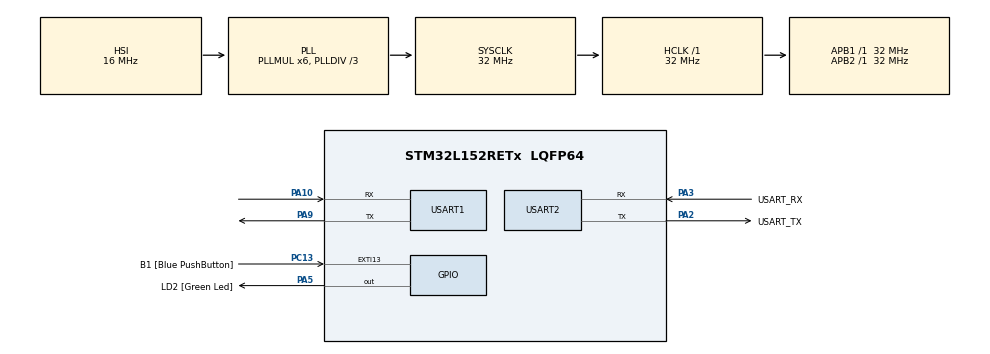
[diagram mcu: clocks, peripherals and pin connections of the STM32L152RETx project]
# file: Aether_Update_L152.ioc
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FREERTOS.Tasks01=defaultTask,0,128,StartDefaultTask,Default,NULL,Dynamic,NULL,NULL;checkUpdateTask,0,128,StartCheckUpdateTask,Default,NULL,Dynamic,NULL,NULL
FREERTOS.configUSE_NEWLIB_REENTRANT=1
Mcu.Family=STM32L1
Mcu.Name=STM32L152RETx
Mcu.Package=LQFP64
NVIC.EXTI15_10_IRQn=true\:5\:0\:false\:false\:true\:true\:true\:true\:true
NVIC.PriorityGroup=NVIC_PRIORITYGROUP_4
NVIC.TIM5_IRQn=true\:15\:0\:false\:false\:true\:false\:false\:true\:true
NVIC.TimeBase=TIM5_IRQn
NVIC.TimeBaseIP=TIM5
NVIC.USART1_IRQn=true\:5\:0\:false\:false\:true\:true\:true\:true\:true
PA10.GPIO_Speed=GPIO_SPEED_FREQ_MEDIUM
PA10.Mode=Asynchronous
PA10.Signal=USART1_RX
PA13.GPIO_Label=TMS
PA13.Mode=Serial_Wire
PA13.Signal=SYS_JTMS-SWDIO
PA14.GPIO_Label=TCK
PA14.Mode=Serial_Wire
PA14.Signal=SYS_JTCK-SWCLK
PA2.GPIO_Label=USART_TX
PA2.GPIO_Speed=GPIO_SPEED_FREQ_MEDIUM
PA2.Mode=Asynchronous
PA2.Signal=USART2_TX
PA3.GPIO_Label=USART_RX
PA3.GPIO_Speed=GPIO_SPEED_FREQ_MEDIUM
PA3.Mode=Asynchronous
PA3.Signal=USART2_RX
PA5.GPIO_Label=LD2 [Green Led]
PA5.Signal=GPIO_Output
PA9.GPIO_Speed=GPIO_SPEED_FREQ_MEDIUM
PA9.Mode=Asynchronous
PA9.Signal=USART1_TX
PB3.GPIO_Label=SWO
PB3.Signal=SYS_JTDO-TRACESWO
PC13-WKUP2.GPIO_Label=B1 [Blue PushButton]
PC13-WKUP2.GPIO_ModeDefaultEXTI=GPIO_MODE_IT_FALLING
PC13-WKUP2.Signal=GPXTI13
PC14-OSC32_IN.Mode=LSE-External-Oscillator
PC14-OSC32_IN.Signal=RCC_OSC32_IN
PC15-OSC32_OUT.Mode=LSE-External-Oscillator
PC15-OSC32_OUT.Signal=RCC_OSC32_OUT
PH0-OSC_IN.Mode=HSE-External-Clock-Source
PH0-OSC_IN.Signal=RCC_OSC_IN
PH1-OSC_OUT.Signal=RCC_OSC_OUT
ProjectManager.HeapSize=0x200
ProjectManager.StackSize=0x400
ProjectManager.TargetToolchain=STM32CubeIDE
RCC.48MHZClocksFreq_Value=48000000
RCC.AHBFreq_Value=32000000
RCC.APB1Freq_Value=32000000
RCC.APB1TimFreq_Value=32000000
RCC.APB2Freq_Value=32000000
RCC.APB2TimFreq_Value=32000000
RCC.HCLKFreq_Value=32000000
RCC.HSE_VALUE=8000000
RCC.HSI_VALUE=16000000
RCC.MSI_VALUE=2097000
RCC.PLLDIV=RCC_PLL_DIV3
RCC.PLLMUL=RCC_PLL_MUL6
RCC.RTCClockSelectionVirtual=RCC_RTCCLKSOURCE_LSE
RCC.SYSCLKFreq_VALUE=32000000
RCC.SYSCLKSource=RCC_SYSCLKSOURCE_PLLCLK
RCC.USBOutput=48000000
RCC.VCOOutputFreq_Value=96000000
USART1.VirtualMode=VM_ASYNC
USART2.VirtualMode=VM_ASYNC
VP_CRC_VS_CRC.Mode=CRC_Activate
VP_FREERTOS_VS_CMSIS_V1.Mode=CMSIS_V1
VP_SYS_VS_tim5.Mode=TIM5
board=NUCLEO-L152RE

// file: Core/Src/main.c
/* USER CODE BEGIN Header */
/**
  ******************************************************************************
  * @file           : main.c
  * @brief          : Main program body
  ******************************************************************************
  * @attention
  *
  * Copyright (c) 2024 STMicroelectronics.
  * All rights reserved.
  *
  * This software is licensed under terms that can be found in the LICENSE file
  * in the root directory of this software component.
  * If no LICENSE file comes with this software, it is provided AS-IS.
  *
  ******************************************************************************
  */
/* USER CODE END Header */
#include "main.h"
#include "cmsis_os.h"

/* USER CODE BEGIN Includes */
#include <stdio.h>
#include <string.h>
#include <stdarg.h>
#include "retarget.h"
/* USER CODE END Includes */

CRC_HandleTypeDef hcrc;

UART_HandleTypeDef huart1;
UART_HandleTypeDef huart2;

osThreadId defaultTaskHandle;
osThreadId checkUpdateTaskHandle;

void SystemClock_Config(void);
static void MX_GPIO_Init(void);
static void MX_USART2_UART_Init(void);
static void MX_CRC_Init(void);
static void MX_USART1_UART_Init(void);
void StartDefaultTask(void const * argument);
void StartCheckUpdateTask(void const * argument);

int main(void)
{

  /* MCU Configuration--------------------------------------------------------*/

  /* Reset of all peripherals, Initializes the Flash interface and the Systick. */
  HAL_Init();

  /* Configure the system clock */
  SystemClock_Config();

  /* Initialize all configured peripherals */
  MX_GPIO_Init();
  MX_USART2_UART_Init();
  MX_CRC_Init();
  MX_USART1_UART_Init();
  /* USER CODE BEGIN 2 */
  RetargetInit(&huart2);
  printf("L152: Starting up.....\n");
  /* USER CODE END 2 */

  /* Create the thread(s) */
  /* definition and creation of defaultTask */
  osThreadDef(defaultTask, StartDefaultTask, osPriorityNormal, 0, 128);
  defaultTaskHandle = osThreadCreate(osThread(defaultTask), NULL);

  /* definition and creation of checkUpdateTask */
  osThreadDef(checkUpdateTask, StartCheckUpdateTask, osPriorityNormal, 0, 128);
  checkUpdateTaskHandle = osThreadCreate(osThread(checkUpdateTask), NULL);

  /* Start scheduler */
  osKernelStart();

  /* We should never get here as control is now taken by the scheduler */

  /* Infinite loop */
  while (1)
  {

  }
}

void SystemClock_Config(void)
{
  RCC_OscInitTypeDef RCC_OscInitStruct = {0};
  RCC_ClkInitTypeDef RCC_ClkInitStruct = {0};

  /** Configure the main internal regulator output voltage
  */
  __HAL_PWR_VOLTAGESCALING_CONFIG(PWR_REGULATOR_VOLTAGE_SCALE1);

  /** Initializes the RCC Oscillators according to the specified parameters
  * in the RCC_OscInitTypeDef structure.
  */
  RCC_OscInitStruct.OscillatorType = RCC_OSCILLATORTYPE_HSI;
  RCC_OscInitStruct.HSIState = RCC_HSI_ON;
  RCC_OscInitStruct.HSICalibrationValue = RCC_HSICALIBRATION_DEFAULT;
  RCC_OscInitStruct.PLL.PLLState = RCC_PLL_ON;
  RCC_OscInitStruct.PLL.PLLSource = RCC_PLLSOURCE_HSI;
  RCC_OscInitStruct.PLL.PLLMUL = RCC_PLL_MUL6;
  RCC_OscInitStruct.PLL.PLLDIV = RCC_PLL_DIV3;
  if (HAL_RCC_OscConfig(&RCC_OscInitStruct) != HAL_OK)
  {
    Error_Handler();
  }

  /** Initializes the CPU, AHB and APB buses clocks
  */
  RCC_ClkInitStruct.ClockType = RCC_CLOCKTYPE_HCLK|RCC_CLOCKTYPE_SYSCLK
                              |RCC_CLOCKTYPE_PCLK1|RCC_CLOCKTYPE_PCLK2;
  RCC_ClkInitStruct.SYSCLKSource = RCC_SYSCLKSOURCE_PLLCLK;
  RCC_ClkInitStruct.AHBCLKDivider = RCC_SYSCLK_DIV1;
  RCC_ClkInitStruct.APB1CLKDivider = RCC_HCLK_DIV1;
  RCC_ClkInitStruct.APB2CLKDivider = RCC_HCLK_DIV1;

  if (HAL_RCC_ClockConfig(&RCC_ClkInitStruct, FLASH_LATENCY_1) != HAL_OK)
  {
    Error_Handler();
  }
}

static void MX_CRC_Init(void)
{

  hcrc.Instance = CRC;
  if (HAL_CRC_Init(&hcrc) != HAL_OK)
  {
    Error_Handler();
  }

}

static void MX_USART1_UART_Init(void)
{

  huart1.Instance = USART1;
  huart1.Init.BaudRate = 115200;
  huart1.Init.WordLength = UART_WORDLENGTH_8B;
  huart1.Init.StopBits = UART_STOPBITS_1;
  huart1.Init.Parity = UART_PARITY_NONE;
  huart1.Init.Mode = UART_MODE_TX_RX;
  huart1.Init.HwFlowCtl = UART_HWCONTROL_NONE;
  huart1.Init.OverSampling = UART_OVERSAMPLING_16;
  if (HAL_UART_Init(&huart1) != HAL_OK)
  {
    Error_Handler();
  }

}

static void MX_USART2_UART_Init(void)
{

  huart2.Instance = USART2;
  huart2.Init.BaudRate = 115200;
  huart2.Init.WordLength = UART_WORDLENGTH_8B;
  huart2.Init.StopBits = UART_STOPBITS_1;
  huart2.Init.Parity = UART_PARITY_NONE;
  huart2.Init.Mode = UART_MODE_TX_RX;
  huart2.Init.HwFlowCtl = UART_HWCONTROL_NONE;
  huart2.Init.OverSampling = UART_OVERSAMPLING_16;
  if (HAL_UART_Init(&huart2) != HAL_OK)
  {
    Error_Handler();
  }

}

static void MX_GPIO_Init(void)
{
  GPIO_InitTypeDef GPIO_InitStruct = {0};

  /* GPIO Ports Clock Enable */
  __HAL_RCC_GPIOC_CLK_ENABLE();
  __HAL_RCC_GPIOH_CLK_ENABLE();
  __HAL_RCC_GPIOA_CLK_ENABLE();
  __HAL_RCC_GPIOB_CLK_ENABLE();

  /*Configure GPIO pin Output Level */
  HAL_GPIO_WritePin(LD2_GPIO_Port, LD2_Pin, GPIO_PIN_RESET);

  /*Configure GPIO pin : B1_Pin */
  GPIO_InitStruct.Pin = B1_Pin;
  GPIO_InitStruct.Mode = GPIO_MODE_IT_FALLING;
  GPIO_InitStruct.Pull = GPIO_NOPULL;
  HAL_GPIO_Init(B1_GPIO_Port, &GPIO_InitStruct);

  /*Configure GPIO pin : LD2_Pin */
  GPIO_InitStruct.Pin = LD2_Pin;
  GPIO_InitStruct.Mode = GPIO_MODE_OUTPUT_PP;
  GPIO_InitStruct.Pull = GPIO_NOPULL;
  GPIO_InitStruct.Speed = GPIO_SPEED_FREQ_LOW;
  HAL_GPIO_Init(LD2_GPIO_Port, &GPIO_InitStruct);

  /* EXTI interrupt init*/
  HAL_NVIC_SetPriority(EXTI15_10_IRQn, 5, 0);
  HAL_NVIC_EnableIRQ(EXTI15_10_IRQn);

}

/* USER CODE BEGIN 4 */
void HAL_GPIO_EXTI_Callback(uint16_t GPIO_Pin)
{
  if(GPIO_Pin == GPIO_PIN_13) {
	  HAL_GPIO_TogglePin(GPIOA, GPIO_PIN_5);
	  printf("L152: Woop woop woop \r\n");
  } else {
      __NOP();
  }
}
/* USER CODE END 4 */

void StartDefaultTask(void const * argument)
{
  /* USER CODE BEGIN 5 */
  /* Infinite loop */
  for(;;)
  {
	  HAL_GPIO_TogglePin(GPIOA, GPIO_PIN_5);
	  osDelay(200);
  }
  /* USER CODE END 5 */
}

void StartCheckUpdateTask(void const * argument)
{
  /* USER CODE BEGIN StartCheckUpdateTask */
	uint32_t currentTime, prevTime = 0;
	uint32_t timeOut = 10000;
  /* Infinite loop */
  for(;;){
	printf("L152: Starting check of update \r\n");
	uint8_t rxBuff[6];
	currentTime = HAL_GetTick();
	//printf("Current time: %u \r\n", currentTime);
	//printf("Prev time: %u \r\n", prevTime);
	if(HAL_UART_Receive(&huart1, rxBuff, 6, 1000)==HAL_OK) //if transfer is successful
	  {
	    printf("Received: \r\n");
	    uint8_t sum = 0;
	    for(uint8_t i = 0; i<5; i++){
	    	sum += rxBuff[i];
	    }
	    // Debug info
	    for(uint8_t i = 0; i<6; i++){
	    	printf("%d", rxBuff[i]);
	    	//sscanf(input[i], "%d", data[i]);
	    }
	    printf("\r\n");

	    // Timer
	    prevTime = currentTime;

	    // Simple checksum
	    if(sum = rxBuff[5]) {
	    	printf("Other processor status is good. Version: %d \r\n", rxBuff[4]);
	    }
	    osDelay(9000);
	  } else {
	    printf("Nothing received \r\n");
	  }
    osDelay(1);

    if(currentTime - prevTime > timeOut) {
    	printf("! Other microcontroller crashed \r\n");
    }

  }
  /* USER CODE END StartCheckUpdateTask */
}

void HAL_TIM_PeriodElapsedCallback(TIM_HandleTypeDef *htim)
{
  if (htim->Instance == TIM5) {
    HAL_IncTick();
  }
}

void Error_Handler(void)
{
  __disable_irq();
  while (1)
  {
  }
}
